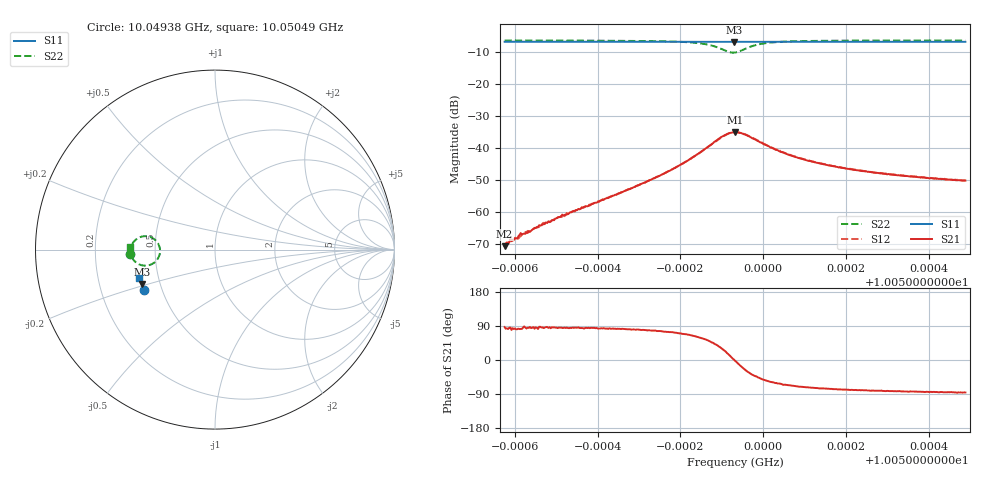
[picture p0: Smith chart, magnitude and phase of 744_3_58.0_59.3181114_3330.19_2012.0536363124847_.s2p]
#  HZ  S  RI  R  50.00
! Rohde & Schwarz Vector Network Analyzer
! Rohde-Schwarz,ZNB20-2Port,1311601062101988,3.16
! Created: UTC 3/21/2024, 1:23:43 AM
! freq[Hz]  re:S11  im:S11  re:S21  im:S21  re:S12  im:S12  re:S22  im:S22
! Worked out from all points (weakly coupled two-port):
!   401 points, 10.04938 GHz to 10.05049 GHz, reference 50 ohm
!   highest |S21| = -35.15 dB at 10.04993 GHz (marker M1); lowest = -70.8 dB at 10.04938 GHz (marker M2)
!   lowest |S11| = -6.9 dB at 10.04993 GHz (marker M3), VSWR 2.64, Z = 19.7 - j9.61 ohm
!   |S11| at or under -10 dB: nowhere
!   |S22| runs from -10.3 to -6.5 dB; largest |S21 - S12| = 0.0015
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1.0049375e10  -0.393 -0.2272  1.59e-05 0.000288  3.3e-05 0.000288  -0.474 -0.0237
1.0049386e10  -0.3934 -0.2265  2.95e-05 0.00033  1.68e-05 0.000336  -0.474 -0.0226
1.0049414e10  -0.3943 -0.225  6.47e-05 0.000459  -1.48e-06 0.000412  -0.4738 -0.0199
1.0049431e10  -0.3948 -0.2239  3.82e-05 0.000462  2.49e-05 0.000501  -0.4737 -0.0183
1.0049459e10  -0.3956 -0.2222  2.52e-05 0.000616  2.83e-05 0.000577  -0.4736 -0.0154
1.0049473e10  -0.3961 -0.2214  4.61e-05 0.000646  3.21e-05 0.000649  -0.4735 -0.014
1.0049492e10  -0.3966 -0.2203  5.13e-05 0.000739  1.9e-05 0.000736  -0.4733 -0.0118
1.0049562e10  -0.3987 -0.2161  0.000107 0.00114  5.27e-06 0.00117  -0.4723 -0.00349
1.0049748e10  -0.4041 -0.2048  0.000857 0.00349  0.000615 0.00354  -0.4615 0.0305
1.0049812e10  -0.4058 -0.2007  0.00224 0.00558  0.00191 0.00571  -0.445 0.0523
1.0049882e10  -0.4071 -0.1962  0.00901 0.00839  0.00834 0.0088  -0.3779 0.0742
1.0049913e10  -0.4072 -0.1946  0.0155 0.00515  0.0149 0.00639  -0.3198 0.0383
1.0049929e10  -0.4073 -0.194  0.0174 0.000415  0.0173 0.00178  -0.306 -0.00925
1.0049932e10  -0.4074 -0.194  0.0175 -0.00057  0.0175 0.000849  -0.3067 -0.0179
1.0049946e10  -0.4077 -0.1937  0.0164 -0.00469  0.0168 -0.00335  -0.3222 -0.0564
1.0049963e10  -0.4084 -0.193  0.0131 -0.00793  0.014 -0.00687  -0.3555 -0.0828
1.0050005e10  -0.4103 -0.1908  0.00673 -0.00899  0.0074 -0.0085  -0.4217 -0.0826
1.005006e10  -0.4122 -0.1874  0.00313 -0.00718  0.00363 -0.00704  -0.4545 -0.0568
1.0050119e10  -0.4137 -0.1838  0.00174 -0.00578  0.00212 -0.00572  -0.4658 -0.0375
1.0050197e10  -0.4158 -0.179  0.000993 -0.00468  0.00128 -0.00465  -0.4715 -0.0202
1.0050305e10  -0.4184 -0.1722  0.000534 -0.0038  0.000759 -0.00378  -0.4741 -0.00394
1.0050489e10  -0.4226 -0.1608  0.000227 -0.00306  0.000401 -0.00307  -0.4747 0.0158
